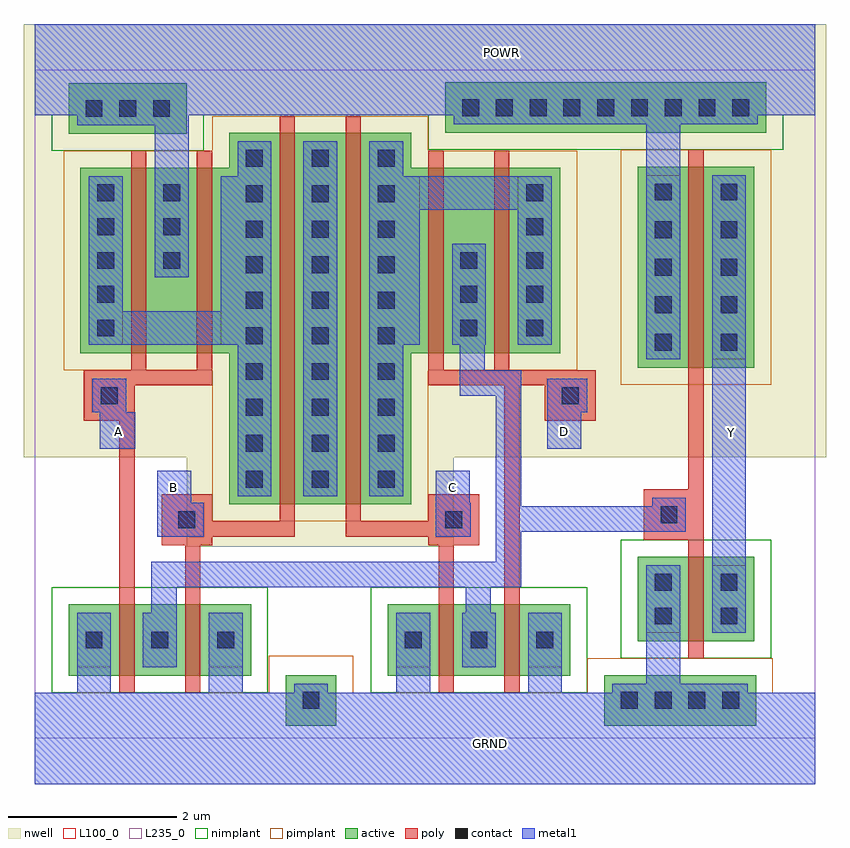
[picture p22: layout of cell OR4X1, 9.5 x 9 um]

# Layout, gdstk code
import gdstk
lib = gdstk.Library(unit=1e-6, precision=1e-09)
def R(c, l, rs):  # rectangles x0, y0, x1, y1
    for r in rs: c.add(gdstk.rectangle(r[:2], r[2:], *l))
def A(c, l, x, y, w, h, nx, ny, dx, dy):  # array of equal rectangles
    R(c, l, [(x+i*dx, y+j*dy, x+i*dx+w, y+j*dy+h) for i in range(nx) for j in range(ny)])
def P(c, l, *ps):  # polygons
    for p in ps: c.add(gdstk.Polygon(p, *l))
active = (1, 0)
nwell = (2, 0)
poly = (3, 0)
nimplant = (4, 0)
pimplant = (5, 0)
contact = (6, 0)
metal1 = (7, 0)
L100_0 = (100, 0)
L235_0 = (235, 0)

or4x1 = lib.new_cell('OR4X1')
A(or4x1, active, 0.4, 0.74, 0.6, 0.85, 3, 1, 0.78, 0)
A(or4x1, active, 4.18, 0.74, 0.6, 0.85, 3, 1, 0.78, 0)
R(or4x1, active, [(2.97,0.15,3.57,0.75), (6.74,0.15,8.54,0.75), (1,0.74,1.18,1.59), (1.78,0.74,1.96,1.59), (4.78,0.74,4.96,1.59), (5.56,0.74,5.74,1.59), (7.14,1.15,7.74,2.15), (7.74,1.15,7.92,2.15), (7.92,1.15,8.52,2.15), (2.9,2.77,3.08,7.17), (3.08,2.77,3.68,7.17), (3.68,2.77,3.86,7.17), (7.14,4.39,7.74,6.77), (7.74,4.39,7.92,6.77), (7.92,4.39,8.52,6.77), (0.54,4.56,1.14,6.76), (1.14,4.56,1.32,6.76), (1.32,4.56,1.92,6.76), (1.92,4.56,2.1,6.76), (4.66,4.56,4.84,6.76), (4.84,4.56,5.44,6.76), (5.44,4.56,5.62,6.76), (5.62,4.56,6.22,6.76), (0.4,7.16,1.8,7.76), (4.86,7.17,8.66,7.77)])
P(or4x1, active, [(4.66,6.76),(4.46,6.76),(4.46,7.17),(3.86,7.17),(3.86,2.77),(4.46,2.77),(4.46,4.56),(4.66,4.56)],
  [(2.9,7.17),(2.3,7.17),(2.3,6.76),(2.1,6.76),(2.1,4.56),(2.3,4.56),(2.3,2.77),(2.9,2.77)])
P(or4x1, nwell, [(9.37,8.46),(-0.13,8.46),(-0.13,3.33),(1.8,3.33),(1.8,2.27),(4.96,2.27),(4.96,3.33),(9.37,3.33)])
R(or4x1, poly, [(1,0.54,1.18,1.79), (1,0.54,1.18,0.74), (1.78,0.54,1.96,1.79), (1.78,0.54,1.96,0.74), (4.78,0.54,4.96,1.79), (4.78,0.54,4.96,0.74), (5.56,0.54,5.74,1.79), (5.56,0.54,5.74,0.74), (7.74,0.95,7.92,1.15), (7.74,0.95,7.92,2.35), (1,1.59,1.18,1.79), (1.78,1.59,1.96,1.79), (4.78,1.59,4.96,1.79), (5.56,1.59,5.74,1.79), (7.74,2.15,7.92,2.35), (2.9,2.57,3.08,2.77), (2.9,2.57,3.08,7.37), (3.68,2.57,3.86,2.77), (3.68,2.57,3.86,7.37), (7.74,4.19,7.92,4.39), (7.74,4.19,7.92,6.97), (1.14,4.36,1.32,4.56), (1.14,4.36,1.32,6.96), (1.92,4.36,2.1,4.56), (1.92,4.36,2.1,6.96), (4.66,4.36,4.84,4.56), (4.66,4.36,4.84,6.96), (5.44,4.36,5.62,4.56), (5.44,4.36,5.62,6.96), (1.14,6.76,1.32,6.96), (1.92,6.76,2.1,6.96), (4.66,6.76,4.84,6.96), (5.44,6.76,5.62,6.96), (7.74,6.77,7.92,6.97), (2.9,7.17,3.08,7.37), (3.68,7.17,3.86,7.37)])
P(or4x1, poly, [(5.26,2.89),(4.66,2.89),(4.66,2.57),(3.68,2.57),(3.68,2.39),(4.66,2.39),(4.66,2.29),(4.78,2.29),(4.78,1.78),(4.96,1.78),(4.96,2.29),(5.26,2.29)],
  [(7.92,4.2),(7.74,4.2),(7.74,2.95),(7.21,2.95),(7.21,2.35),(7.74,2.35),(7.74,1.7),(7.92,1.7)],
  [(3.08,2.57),(2.1,2.57),(2.1,2.89),(1.5,2.89),(1.5,2.29),(1.78,2.29),(1.78,1.76),(1.96,1.76),(1.96,2.29),(2.1,2.29),(2.1,2.39),(3.08,2.39)],
  [(2.1,4.36),(0.58,4.36),(0.58,3.76),(1,3.76),(1,1.77),(1.18,1.77),(1.18,4.18),(2.1,4.18)],
  [(6.64,4.36),(4.66,4.36),(4.66,4.18),(5.56,4.18),(5.56,1.74),(5.74,1.74),(5.74,4.18),(6.04,4.18),(6.04,3.76),(6.64,3.76)])
R(or4x1, nimplant, [(0.2,0.54,2.76,1.79), (3.98,0.54,6.54,1.79), (6.94,0.95,8.72,2.35)])
P(or4x1, nimplant, [(9.24,8.46),(0,8.46),(0,7.38),(0.2,7.38),(0.2,6.96),(2,6.96),(2,7.38),(4.66,7.38),(4.66,6.97),(8.86,6.97),(8.86,7.38),(9.24,7.38)])
R(or4x1, pimplant, [(6.94,4.19,8.72,6.97)])
P(or4x1, pimplant, [(9.24,0.54),(8.74,0.54),(8.74,0.95),(6.54,0.95),(6.54,0.54),(3.77,0.54),(3.77,0.98),(2.77,0.98),(2.77,0.54),(0,0.54),(0,-0.54),(9.24,-0.54)],
  [(6.42,6.96),(4.66,6.96),(4.66,7.37),(2.1,7.37),(2.1,6.96),(0.34,6.96),(0.34,4.36),(2.1,4.36),(2.1,2.57),(4.66,2.57),(4.66,4.36),(6.42,4.36)])
A(or4x1, contact, 6.94, 0.35, 0.2, 0.2, 4, 1, 0.4, 0)
A(or4x1, contact, 0.6, 1.065, 0.2, 0.2, 3, 1, 0.78, 0)
A(or4x1, contact, 4.38, 1.065, 0.2, 0.2, 3, 1, 0.78, 0)
A(or4x1, contact, 2.5, 2.97, 0.2, 0.2, 3, 5, 0.78, 0.425)
A(or4x1, contact, 7.34, 4.59, 0.2, 0.2, 1, 5, 0, 0.445)
A(or4x1, contact, 8.12, 4.59, 0.2, 0.2, 1, 5, 0, 0.445)
A(or4x1, contact, 0.74, 4.76, 0.2, 0.2, 1, 5, 0, 0.4)
A(or4x1, contact, 5.04, 4.76, 0.2, 0.2, 1, 3, 0, 0.4)
A(or4x1, contact, 5.82, 4.76, 0.2, 0.2, 1, 5, 0, 0.4)
A(or4x1, contact, 2.5, 5.09, 0.2, 0.2, 3, 5, 0.78, 0.42)
A(or4x1, contact, 1.52, 5.56, 0.2, 0.2, 1, 3, 0, 0.4)
A(or4x1, contact, 0.6, 7.36, 0.2, 0.2, 3, 1, 0.4, 0)
A(or4x1, contact, 5.46, 7.37, 0.2, 0.2, 5, 1, 0.4, 0)
A(or4x1, contact, 7.06, 7.37, 0.2, 0.2, 4, 1, 0.4, 0)
R(or4x1, contact, [(3.17,0.35,3.37,0.55), (7.34,1.35,7.54,1.55), (8.12,1.35,8.32,1.55), (7.34,1.75,7.54,1.95), (8.12,1.75,8.32,1.95), (1.7,2.49,1.9,2.69), (4.86,2.49,5.06,2.69), (7.41,2.55,7.61,2.75), (0.78,3.96,0.98,4.16), (6.24,3.96,6.44,4.16), (5.06,7.37,5.26,7.57), (5.46,7.37,5.66,7.57)])
R(or4x1, metal1, [(0,-0.54,9.24,0.54), (3.07,0.25,3.47,0.65), (1.5,2.82,1.8,3.12), (4.8,2.82,5.1,3.12), (0.77,3.43,1.19,3.86), (0.84,3.48,1.14,3.78), (6.12,3.48,6.42,3.78), (8.1,3.48,8.4,3.78), (0.68,3.86,1.08,4.26), (0,7.38,9.24,8.46)])
P(or4x1, metal1, [(7.71,2.85),(7.31,2.85),(7.31,2.75),(5.76,2.75),(5.76,4.36),(5.33,4.36),(5.33,4.66),(5.03,4.66),(5.03,4.06),(5.46,4.06),(5.46,2.09),(1.38,2.09),(1.38,1.49),(1.68,1.49),(1.68,1.79),(5.1,1.79),(5.1,1.49),(5.4,1.49),(5.4,1.79),(5.76,1.79),(5.76,2.45),(7.71,2.45)],
  [(5.16,2.79),(5.15,2.79),(5.15,3.17),(4.75,3.17),(4.75,2.39),(5.16,2.39)],
  [(2,2.79),(1.85,2.79),(1.85,3.17),(1.45,3.17),(1.45,2.39),(2,2.39)],
  [(6.54,4.26),(6.07,4.26),(6.07,3.43),(6.47,3.43),(6.47,3.86),(6.54,3.86)],
  [(8.56,7.67),(4.96,7.67),(4.96,7.27),(7.24,7.27),(7.24,6.67),(7.64,6.67),(7.64,7.27),(8.56,7.27)],
  [(2.8,7.07),(2.4,7.07),(2.4,6.66),(2.2,6.66),(2.2,4.66),(2.4,4.66),(2.4,2.87),(2.8,2.87)],
  [(1.7,7.66),(0.5,7.66),(0.5,7.26),(1.42,7.26),(1.42,6.66),(1.82,6.66),(1.82,7.38),(1.7,7.38)],
  [(8.44,0.65),(7.64,0.65),(7.64,1.26),(7.24,1.26),(7.24,0.65),(6.84,0.65),(6.84,0.25),(8.44,0.25)],
  [(4.56,6.66),(4.36,6.66),(4.36,7.07),(3.96,7.07),(3.96,2.87),(4.36,2.87),(4.36,4.66),(4.56,4.66)])
R(or4x1, L100_0, [(0.5,0.84,0.9,1.49), (2.06,0.84,2.46,1.49), (4.28,0.84,4.68,1.49), (5.84,0.84,6.24,1.49), (7.24,1.25,7.64,2.05), (8.02,1.25,8.42,2.05), (7.24,4.49,7.64,6.67), (8.02,4.49,8.42,6.67), (0.64,4.66,1.04,6.66), (5.72,4.66,6.12,6.66)])
P(or4x1, L100_0, [(4.56,6.66),(4.36,6.66),(4.36,7.07),(3.96,7.07),(3.96,2.87),(4.36,2.87),(4.36,4.66),(4.56,4.66)],
  [(2.8,7.07),(2.4,7.07),(2.4,6.66),(2.2,6.66),(2.2,4.66),(2.4,4.66),(2.4,2.87),(2.8,2.87)])
R(or4x1, L235_0, [(0,0,9.24,7.92)])
or4x1.add(gdstk.FlexPath([(8.22,4.49),(8.22,2.05)], 0.4, ends="flush", simple_path=True, layer=7, datatype=0))  # metal1
or4x1.add(gdstk.FlexPath([(4.56,6.46),(5.72,6.46)], 0.4, ends="flush", simple_path=True, layer=7, datatype=0))  # metal1
or4x1.add(gdstk.FlexPath([(4.48,0.84),(4.48,1.49)], 0.4, ends="flush", simple_path=True, layer=7, datatype=0))  # metal1
or4x1.add(gdstk.FlexPath([(5.26,0.84),(5.26,1.49)], 0.4, ends="flush", simple_path=True, layer=7, datatype=0))  # metal1
or4x1.add(gdstk.FlexPath([(6.04,0.84),(6.04,1.49)], 0.4, ends="flush", simple_path=True, layer=7, datatype=0))  # metal1
or4x1.add(gdstk.FlexPath([(6.04,0.84),(6.04,0.54)], 0.4, ends="flush", simple_path=True, layer=7, datatype=0))  # metal1
or4x1.add(gdstk.FlexPath([(4.48,0.84),(4.48,0.54)], 0.4, ends="flush", simple_path=True, layer=7, datatype=0))  # metal1
or4x1.add(gdstk.FlexPath([(0.7,0.84),(0.7,1.49)], 0.4, ends="flush", simple_path=True, layer=7, datatype=0))  # metal1
or4x1.add(gdstk.FlexPath([(1.48,0.84),(1.48,1.49)], 0.4, ends="flush", simple_path=True, layer=7, datatype=0))  # metal1
or4x1.add(gdstk.FlexPath([(2.26,0.84),(2.26,1.49)], 0.4, ends="flush", simple_path=True, layer=7, datatype=0))  # metal1
or4x1.add(gdstk.FlexPath([(5.92,4.66),(5.92,6.66)], 0.4, ends="flush", simple_path=True, layer=7, datatype=0))  # metal1
or4x1.add(gdstk.FlexPath([(2.26,0.84),(2.26,0.54)], 0.4, ends="flush", simple_path=True, layer=7, datatype=0))  # metal1
or4x1.add(gdstk.FlexPath([(0.7,0.84),(0.7,0.54)], 0.4, ends="flush", simple_path=True, layer=7, datatype=0))  # metal1
or4x1.add(gdstk.FlexPath([(5.14,4.66),(5.14,5.86)], 0.4, ends="flush", simple_path=True, layer=7, datatype=0))  # metal1
or4x1.add(gdstk.FlexPath([(8.22,4.49),(8.22,6.67)], 0.4, ends="flush", simple_path=True, layer=7, datatype=0))  # metal1
or4x1.add(gdstk.FlexPath([(7.44,4.49),(7.44,6.67)], 0.4, ends="flush", simple_path=True, layer=7, datatype=0))  # metal1
or4x1.add(gdstk.FlexPath([(8.22,1.25),(8.22,2.05)], 0.4, ends="flush", simple_path=True, layer=7, datatype=0))  # metal1
or4x1.add(gdstk.FlexPath([(7.44,1.25),(7.44,2.05)], 0.4, ends="flush", simple_path=True, layer=7, datatype=0))  # metal1
or4x1.add(gdstk.FlexPath([(3.38,2.87),(3.38,7.07)], 0.4, ends="flush", simple_path=True, layer=7, datatype=0))  # metal1
or4x1.add(gdstk.FlexPath([(1.04,4.86),(2.21,4.86)], 0.4, ends="flush", simple_path=True, layer=7, datatype=0))  # metal1
or4x1.add(gdstk.FlexPath([(1.62,5.46),(1.62,6.66)], 0.4, ends="flush", simple_path=True, layer=7, datatype=0))  # metal1
or4x1.add(gdstk.FlexPath([(0.84,4.66),(0.84,6.66)], 0.4, ends="flush", simple_path=True, layer=7, datatype=0))  # metal1
or4x1.add(gdstk.Label('A', (0.99,3.63), layer=230, texttype=0))
or4x1.add(gdstk.Label('Y', (8.25,3.62), layer=230, texttype=0))
or4x1.add(gdstk.Label('D', (6.27,3.63), layer=230, texttype=0))
or4x1.add(gdstk.Label('C', (4.95,2.97), layer=230, texttype=0))
or4x1.add(gdstk.Label('B', (1.64,2.97), layer=230, texttype=0))
or4x1.add(gdstk.Label('POWR', (5.52,8.12), layer=230, texttype=0))
or4x1.add(gdstk.Label('GRND', (5.4,-0.06), layer=230, texttype=0))

lib.write_gds('OR4X1.gds')
